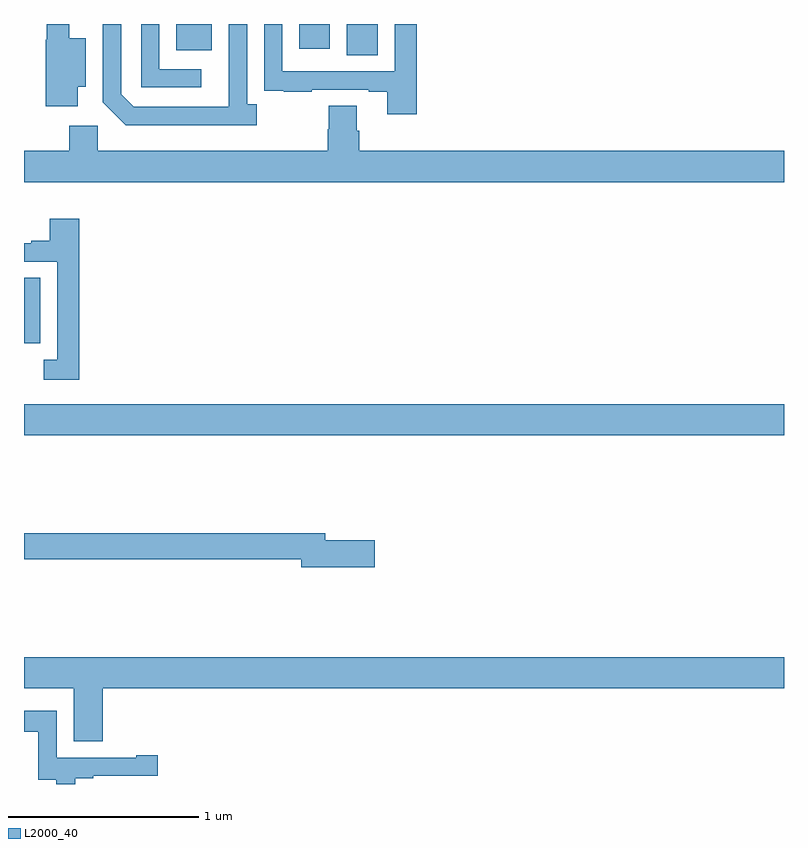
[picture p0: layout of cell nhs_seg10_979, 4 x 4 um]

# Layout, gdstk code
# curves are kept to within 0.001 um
import gdstk
lib = gdstk.Library(unit=1e-6, precision=1e-09)
def R(c, l, rs):  # rectangles x0, y0, x1, y1
    for r in rs: c.add(gdstk.rectangle(r[:2], r[2:], *l))
def P(c, l, *ps):  # polygons
    for p in ps: c.add(gdstk.Polygon(p, *l))
L2000_40 = (2000, 40)

nhs_seg10_979 = lib.new_cell('nhs_seg10_979')
R(nhs_seg10_979, L2000_40, [(161,1280.336,165,1280.5), (161,1280.821,161.086,1281.164), (162.698,1282.336,162.862,1282.5), (161.801,1282.361,161.989,1282.5), (162.449,1282.371,162.61,1282.5)])
P(nhs_seg10_979, L2000_40, [(161.284,1282.169),(161.326,1282.169),(161.326,1282.426),(161.237,1282.426),(161.237,1282.5),(161.119,1282.5),(161.119,1282.416),(161.114,1282.416),(161.114,1282.068),(161.284,1282.068)],
  [(163.067,1282.5),(162.951,1282.5),(162.951,1282.251),(162.36,1282.251),(162.36,1282.5),(162.264,1282.5),(162.264,1282.258),(162.265,1282.258),(162.265,1282.149),(162.367,1282.149),(162.367,1282.143),(162.515,1282.143),(162.515,1282.155),(162.815,1282.155),(162.815,1282.143),(162.911,1282.143),(162.911,1282.026),(163.067,1282.026)],
  [(161.932,1282.263),(161.712,1282.263),(161.712,1282.5),(161.616,1282.5),(161.616,1282.167),(161.932,1282.167)],
  [(162.226,1282.078),(162.174,1282.078),(162.174,1282.5),(162.078,1282.5),(162.077,1282.065),(161.577,1282.065),(161.511,1282.131),(161.511,1282.5),(161.415,1282.5),(161.415,1282.089),(161.536,1281.968),(162.226,1281.968)],
  [(165,1281.832),(162.764,1281.832),(162.764,1281.938),(162.751,1281.938),(162.751,1282.07),(162.604,1282.07),(162.604,1281.945),(162.599,1281.945),(162.599,1281.832),(161.388,1281.832),(161.388,1281.964),(161.237,1281.964),(161.237,1281.832),(161,1281.832),(161,1281.668),(165,1281.668)],
  [(161.291,1281.475),(161.135,1281.475),(161.135,1281.358),(161.039,1281.358),(161.039,1281.345),(161,1281.345),(161,1281.249),(161.175,1281.249),(161.175,1280.733),(161.103,1280.733),(161.103,1280.628),(161.291,1280.628)],
  [(162.847,1279.784),(162.586,1279.784),(162.586,1279.82),(161,1279.82),(161,1279.684),(162.458,1279.684),(162.458,1279.642),(162.847,1279.642)],
  [(161,1279.004),(161.261,1279.004),(161.261,1278.724),(161.414,1278.724),(161.414,1279.004),(165,1279.004),(165,1279.168),(161,1279.168)],
  [(161.27,1278.531),(161.365,1278.531),(161.365,1278.543),(161.704,1278.543),(161.704,1278.652),(161.591,1278.652),(161.591,1278.639),(161.172,1278.639),(161.172,1278.885),(161,1278.885),(161,1278.774),(161.075,1278.774),(161.075,1278.523),(161.17,1278.523),(161.17,1278.5),(161.27,1278.5)])

lib.write_gds('nhs_seg10_979.gds')
